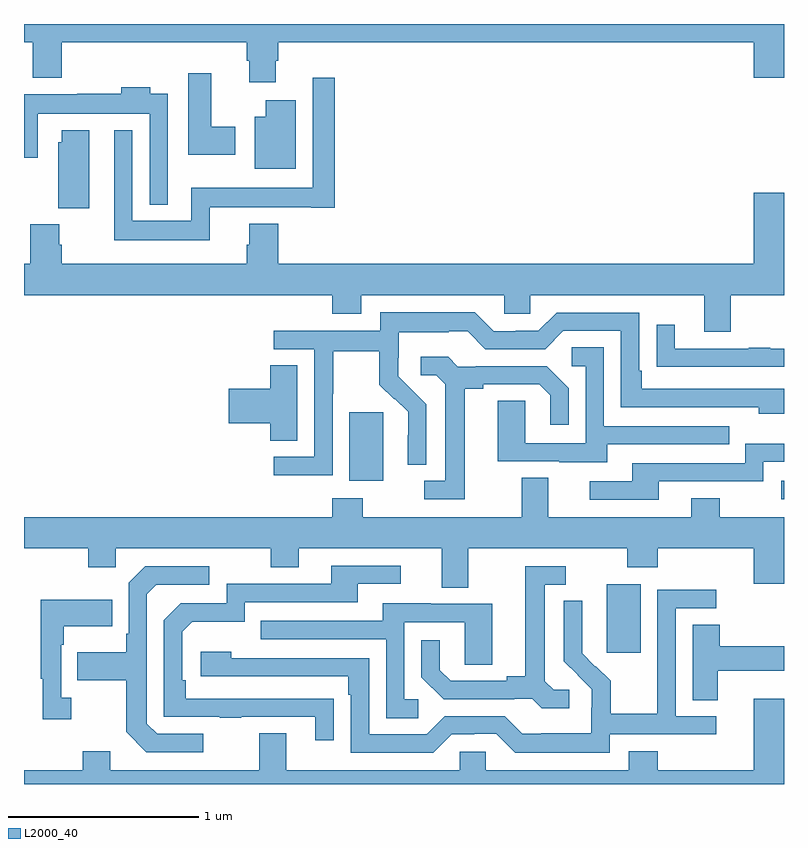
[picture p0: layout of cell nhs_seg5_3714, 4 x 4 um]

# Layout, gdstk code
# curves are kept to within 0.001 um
import gdstk
lib = gdstk.Library(unit=1e-6, precision=1e-09)
def R(c, l, rs):  # rectangles x0, y0, x1, y1
    for r in rs: c.add(gdstk.rectangle(r[:2], r[2:], *l))
def P(c, l, *ps):  # polygons
    for p in ps: c.add(gdstk.Polygon(p, *l))
L2000_40 = (2000, 40)

nhs_seg5_3714 = lib.new_cell('nhs_seg5_3714')
R(nhs_seg5_3714, L2000_40, [(332.066,909.489,332.245,909.85), (332.985,910.299,333,910.395), (330.713,910.394,330.892,910.755)])
P(nhs_seg5_3714, L2000_40, [(330.325,912.606),(330.338,912.606),(330.338,912.704),(332.84,912.704),(332.84,912.516),(333,912.516),(333,912.799),(329,912.799),(329,912.704),(329.045,912.704),(329.045,912.515),(329.198,912.515),(329.198,912.704),(330.173,912.704),(330.173,912.606),(330.185,912.606),(330.185,912.492),(330.325,912.492)],
  [(330.112,912.258),(329.986,912.258),(329.986,912.541),(329.864,912.541),(329.864,912.11),(330.112,912.11)],
  [(329.978,911.834),(330.512,911.834),(330.512,911.832),(330.635,911.832),(330.635,912.517),(330.519,912.517),(330.519,911.938),(329.88,911.938),(329.88,911.764),(329.571,911.764),(329.571,912.241),(329.474,912.241),(329.474,911.66),(329.978,911.66)],
  [(329.757,912.433),(329.665,912.433),(329.665,912.466),(329.513,912.466),(329.513,912.433),(329.281,912.433),(329.281,912.43),(329,912.43),(329,912.096),(329.073,912.096),(329.073,912.326),(329.661,912.326),(329.661,911.849),(329.757,911.849)],
  [(330.43,912.397),(330.272,912.397),(330.272,912.31),(330.215,912.31),(330.215,912.038),(330.43,912.038)],
  [(329.344,912.241),(329.198,912.241),(329.198,912.177),(329.18,912.177),(329.18,911.83),(329.344,911.83)],
  [(332.719,911.372),(333,911.372),(333,911.911),(332.84,911.911),(332.84,911.536),(330.338,911.536),(330.338,911.749),(330.185,911.749),(330.185,911.637),(330.173,911.637),(330.173,911.536),(329.198,911.536),(329.198,911.636),(329.185,911.636),(329.185,911.745),(329.033,911.745),(329.033,911.536),(329,911.536),(329,911.372),(330.623,911.372),(330.623,911.273),(330.775,911.273),(330.775,911.372),(331.527,911.372),(331.527,911.274),(331.665,911.274),(331.665,911.372),(332.579,911.372),(332.579,911.178),(332.719,911.178)],
  [(330.624,910.852),(330.627,910.852),(330.627,911.076),(330.871,911.076),(330.871,910.901),(330.948,910.824),(330.951,910.827),(331.022,910.757),(331.022,910.634),(331.02,910.634),(331.02,910.48),(331.116,910.48),(331.116,910.798),(330.97,910.946),(330.97,911.043),(330.972,911.043),(330.972,911.177),(331.235,911.177),(331.235,911.181),(331.335,911.181),(331.428,911.088),(331.743,911.088),(331.839,911.184),(332.142,911.184),(332.142,910.782),(332.867,910.782),(332.867,910.748),(333,910.748),(333,910.878),(332.251,910.878),(332.251,910.975),(332.238,910.975),(332.238,911.28),(331.803,911.28),(331.707,911.184),(331.589,911.184),(331.589,911.181),(331.473,911.181),(331.373,911.281),(330.876,911.281),(330.876,911.184),(330.315,911.184),(330.315,911.088),(330.528,911.088),(330.528,910.521),(330.315,910.521),(330.315,910.423),(330.624,910.423)],
  [(333,911.091),(332.927,911.091),(332.927,911.096),(332.815,911.096),(332.815,911.091),(332.425,911.091),(332.425,911.215),(332.329,911.215),(332.329,910.996),(332.431,910.996),(332.431,910.995),(333,910.995)],
  [(332.071,910.587),(332.711,910.587),(332.711,910.683),(332.052,910.683),(332.052,911.099),(331.884,911.099),(331.884,910.998),(331.956,910.998),(331.956,910.593),(331.638,910.593),(331.638,910.817),(331.493,910.817),(331.493,910.497),(331.817,910.497),(331.817,910.493),(332.071,910.493)],
  [(331.321,910.88),(331.417,910.88),(331.417,910.902),(331.712,910.902),(331.769,910.845),(331.769,910.689),(331.866,910.689),(331.866,910.882),(331.75,910.998),(331.378,910.998),(331.378,910.995),(331.284,910.995),(331.232,911.047),(331.089,911.047),(331.089,910.95),(331.17,910.95),(331.217,910.903),(331.217,910.395),(331.107,910.395),(331.107,910.299),(331.321,910.299)],
  [(330.439,911.003),(330.296,911.003),(330.296,910.88),(330.078,910.88),(330.078,910.697),(330.296,910.697),(330.296,910.606),(330.439,910.606)],
  [(332.341,910.392),(332.892,910.392),(332.892,910.494),(333,910.494),(333,910.591),(332.796,910.591),(332.796,910.488),(332.201,910.488),(332.201,910.392),(331.977,910.392),(331.977,910.296),(332.341,910.296)],
  [(331.339,910.04),(332.176,910.04),(332.176,909.941),(332.336,909.941),(332.336,910.04),(332.84,910.04),(332.84,909.852),(333,909.852),(333,910.204),(332.661,910.204),(332.661,910.303),(332.513,910.303),(332.513,910.204),(331.759,910.204),(331.759,910.412),(331.619,910.412),(331.619,910.204),(330.783,910.204),(330.783,910.303),(330.623,910.303),(330.623,910.204),(329,910.204),(329,910.04),(329.338,910.04),(329.338,909.941),(329.484,909.941),(329.484,910.04),(330.298,910.04),(330.298,909.941),(330.445,909.941),(330.445,910.04),(331.199,910.04),(331.199,909.832),(331.339,909.832)],
  [(330.629,909.248),(329.852,909.249),(329.852,909.346),(329.832,909.346),(329.832,909.6),(329.885,909.653),(330.162,909.653),(330.162,909.756),(330.757,909.756),(330.757,909.852),(330.982,909.852),(330.982,909.948),(330.617,909.948),(330.617,909.852),(330.066,909.852),(330.066,909.75),(329.826,909.75),(329.736,909.66),(329.736,909.153),(330.031,909.153),(330.031,909.148),(330.143,909.148),(330.143,909.153),(330.533,909.153),(330.533,909.03),(330.629,909.03)],
  [(331.87,909.294),(331.788,909.294),(331.741,909.341),(331.741,909.849),(331.852,909.849),(331.852,909.945),(331.637,909.945),(331.637,909.365),(331.541,909.365),(331.541,909.342),(331.246,909.342),(331.189,909.399),(331.189,909.556),(331.092,909.556),(331.092,909.362),(331.208,909.246),(331.58,909.246),(331.58,909.249),(331.674,909.249),(331.726,909.197),(331.87,909.197)],
  [(329.944,909.063),(329.7,909.063),(329.646,909.117),(329.646,909.798),(329.697,909.849),(329.974,909.849),(329.974,909.945),(329.637,909.945),(329.55,909.858),(329.55,909.589),(329.538,909.589),(329.538,909.493),(329.281,909.493),(329.281,909.346),(329.538,909.346),(329.538,909.073),(329.643,908.967),(329.944,908.967)],
  [(332.082,909.06),(332.644,909.06),(332.644,909.156),(332.43,909.156),(332.43,909.723),(332.644,909.723),(332.644,909.822),(332.334,909.822),(332.334,909.392),(332.332,909.392),(332.332,909.169),(332.087,909.169),(332.087,909.343),(332.01,909.42),(332.007,909.417),(331.937,909.488),(331.938,909.764),(331.842,909.764),(331.842,909.446),(331.988,909.298),(331.988,909.201),(331.986,909.201),(331.986,909.067),(331.723,909.067),(331.723,909.063),(331.623,909.063),(331.53,909.156),(331.215,909.156),(331.119,909.06),(330.816,909.06),(330.816,909.462),(330.092,909.462),(330.092,909.496),(329.931,909.496),(329.931,909.366),(330.707,909.366),(330.707,909.269),(330.72,909.269),(330.72,908.964),(331.155,908.964),(331.251,909.06),(331.37,909.06),(331.37,909.063),(331.485,909.063),(331.585,908.963),(332.082,908.963)],
  [(329.248,909.254),(329.196,909.254),(329.196,909.533),(329.209,909.533),(329.209,909.629),(329.465,909.629),(329.465,909.769),(329.088,909.769),(329.088,909.353),(329.099,909.353),(329.099,909.141),(329.248,909.141)],
  [(331.075,909.246),(331.002,909.246),(331.002,909.651),(331.32,909.651),(331.32,909.427),(331.465,909.427),(331.465,909.747),(331.141,909.747),(331.141,909.751),(330.887,909.751),(330.887,909.657),(330.247,909.657),(330.247,909.561),(330.906,909.561),(330.906,909.145),(331.075,909.145)],
  [(332.65,909.395),(333,909.395),(333,909.525),(332.663,909.525),(332.663,909.638),(332.519,909.638),(332.519,909.241),(332.65,909.241)],
  [(332.336,908.971),(332.183,908.971),(332.183,908.872),(331.431,908.872),(331.431,908.97),(331.293,908.97),(331.293,908.872),(330.379,908.872),(330.379,909.067),(330.239,909.067),(330.239,908.872),(329.455,908.872),(329.455,908.971),(329.308,908.971),(329.308,908.872),(329,908.872),(329,908.799),(333,908.799),(333,909.247),(332.84,909.247),(332.84,908.872),(332.336,908.872)])

lib.write_gds('nhs_seg5_3714.gds')
